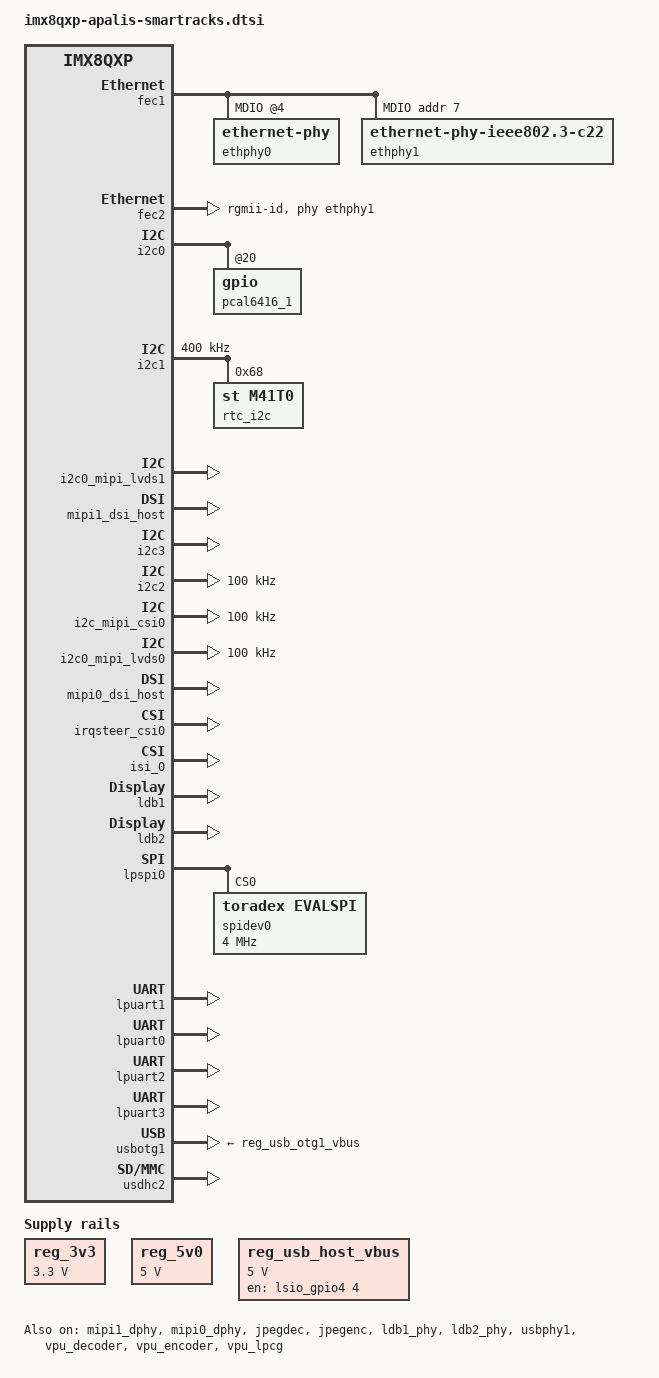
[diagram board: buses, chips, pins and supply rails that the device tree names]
/ {
    aliases {
        rtc0 = &rtc_i2c;
        rtc1 = &rtc;
    };

    reg_3v3: regulator-3v3 {
        compatible = "regulator-fixed";
        regulator-name = "3.3V";
        regulator-min-microvolt = <3300000>;
        regulator-max-microvolt = <3300000>;
    };

    reg_5v0: regulator-5v0 {
        compatible = "regulator-fixed";
        regulator-name = "5V";
        regulator-min-microvolt = <5000000>;
        regulator-max-microvolt = <5000000>;
    };

    reg_usb_otg1_vbus: regulator@0 {
        compatible = "regulator-fixed";
        pinctrl-names = "default";
        pinctrl-0 = <&pinctrl_usbo1_en>;
        regulator-name = "usb_otg1_vbus";
        regulator-min-microvolt = <5000000>;
        regulator-max-microvolt = <5000000>;
        enable-active-high;
        /* Apalis USBO1_EN */
        gpio = <&lsio_gpio3 16 GPIO_ACTIVE_HIGH>;
        status = "disabled";
    };

    /* The Cadence,usb3 driver doesn't support the vbus regulator for now.
        * Add regulator-always-on to keep the USBH_EN signal up.
        */
    reg_usb_host_vbus: regulator-usb-host-vbus {
        compatible = "regulator-fixed";
        enable-active-high;
        pinctrl-names = "default";
        pinctrl-0 = <&pinctrl_usbh_en>;
        regulator-always-on;
        regulator-name = "usb_host_vbus_hub";
        regulator-min-microvolt = <5000000>;
        regulator-max-microvolt = <5000000>;
        /* Apalis USBH_EN */
        gpio = <&lsio_gpio4 4 GPIO_ACTIVE_HIGH>;
    };

    regulator-pcie-switch {
        status = "disabled";
    };

    gpio-fan {
        status = "disabled";
    };
};


/* Disabling adc0 interface to free up pinctrl_adc0 */ 
/* pinctrl_adc0 contains 4 pins, MXM3 305, 307, 309, 311, all of which will be muxed to GPIO */
&adc0 {
    status = "disabled";
};

&fec1 {
    status = "okay";
    /delete-property/ phy-reset-duration;
    /delete-property/ phy-reset-gpios;

    mdio {
        ethphy0: ethernet-phy@4 {
            /delete-property/ interrupt-parent;
            /delete-property/ interrupts;
        };
        ethphy1: ethernet-phy@7 {
            compatible = "ethernet-phy-ieee802.3-c22";
            micrel,led-mode = <0>;
            reg = <7>;
        };
    };
};

/* Apalis Second Gigabit Ethernet */
&fec2 {
    status = "okay";
    pinctrl-names = "default";
    pinctrl-0 = <&pinctrl_fec2>;
    fsl,magic-packet;
    phy-handle = <&ethphy1>;
    phy-mode = "rgmii-id";
}; 

/* Apalis CAN1 */
&flexcan2 {
    /* define the following property to disable CAN-FD mode */
    /* disable-fd-mode; */
    status = "disabled";
};

/* Apalis CAN2 */
&flexcan3 {
    /* define the following property to disable CAN-FD mode */
    /* disable-fd-mode; */
    status = "disabled";
};

/* Apalis on-module I2C0 */
/* Rename GPIO expander line names to allow RCU Service to access GPIO using MXM3 pin number */
&i2c0 {
    pcal6416_1: gpio@20 {
        gpio-line-names = "MXM3_220", "MXM3_217", "MXM3_215",
            "UART4_TXD", "MXM3_124", "MXM3_122", "MXM3_120",
            "MXM3_110", "MXM3_2", "Wi-Fi_WKUP_WLAN",
            "Wi-Fi_W_DISABLE", "Wi-Fi_WKUP_BT", "Wi-Fi_PDn",
            "Wi-Fi_WKUP_HOST", "DSI_SW_SEL", "MXM3_232";
    };
};

/* Apalis I2C1 */
&i2c1 {
    status = "okay";
    clock-frequency = <400000>;

    /* M41T0M6 real time clock on carrier board */
    rtc_i2c: rtc@68 {
        compatible = "st,m41t0";
        reg = <0x68>;
    };
};

/* Apalis I2C2 (56246000.i2c) MXM3 205, 207 */
&i2c0_mipi_lvds1 {
    status = "okay";
};
&mipi1_dphy {
    status = "okay";
};
&mipi1_dsi_host {
    status = "okay";
};

/* Apalis I2C3 (5a830000.i2c) MXM3 203, 201 */
&i2c3 {
    status = "okay";
};

/* Apalis I2C4 (5a820000.i2c) MXM3 239, 8 */
&i2c2 {
    #address-cells = <1>;
    #size-cells = <0>;
    pinctrl-names = "default";
    pinctrl-0 = <&pinctrl_lpi2c4>;
    clock-frequency = <100000>;
    status = "okay";
};

/* Apalis I2C5 (58226000.i2c) MXM3 191, 193 */
&i2c_mipi_csi0 {
    #address-cells = <1>;
    #size-cells = <0>;
    pinctrl-names = "default";
    pinctrl-0 = <&pinctrl_lpi2c5>;
    clock-frequency = <100000>;
    status = "okay";
};

/* Apalis I2C6 (56226000.i2c) MXM3 35, 37 */
&i2c0_mipi_lvds0 {
    #address-cells = <1>;
    #size-cells = <0>;
    pinctrl-names = "default";
    pinctrl-0 = <&pinctrl_i2c0_mipi_lvds0>;
    clock-frequency = <100000>;
    status = "okay";
};
&mipi0_dphy {
    status = "okay";
};
&mipi0_dsi_host {
    status = "okay";
};


/* Enable interrupt parent for i2c_mipi_csi0 */
&irqsteer_csi0 {
    status = "okay";
};

&isi_0 {
    interface = <2 0 2>;
    /**
    * interface = <Input MIPI_VCx Output>
    * Input:       0-DC0, 1-DC1, 2-MIPI CSI0, 3-MIPI CSI1, 4-HDMI, 5-MEM, INPUT: 6-PARALLEL CSI
    * MIPI_VCx:    0-VC0, 1-VC1, 2-VC2, 3-VC3, MIPI CSI only
    * Output:      0-DC0, 1-DC1, 2-MEM
    */
    status = "okay";

        cap_device {
            status = "okay";
        };

        m2m_device {
            status = "okay";
        };
};

&isi_1 {
    interface = <6 0 2>;
    parallel_csi;
    status = "disabled";
};

&isi_2 {
    status = "disabled";
};

&isi_3 {
    status = "disabled";
};

&isi_4 {
    status = "disabled";
};

&isi_5 {
    status = "disabled";
};

&isi_6 {
    status = "disabled";
};

&isi_7 {
    status = "disabled";
};

&jpegdec {
        status = "okay";
};

&jpegenc {
        status = "okay";
};

&ldb1 {
    status = "okay";
};

&ldb1_phy {
    status = "okay";
};

&ldb2 {
    status = "okay";
};

&ldb2_phy {
    status = "okay";
};

/* Apalis SPI1 */
&lpspi0 {
    status = "okay";

    spidev0: spi@0 {
        compatible = "toradex,evalspi";
        reg = <0>;
        spi-max-frequency = <4000000>;
    };
};

/* Apalis SPI2 */
/* Disabled to free up MXM3 229, 231, 233, 235 for GPIO */
&lpspi2 {
    status = "disabled";

    spidev1: spi@0 {
        compatible = "toradex,evalspi";
        reg = <0>;
        spi-max-frequency = <4000000>;
    };
};

/* Apalis UART1 */
&lpuart1 {
    status = "okay";
    linux,rs485-enabled-at-boot-time;
};

/* Apalis UART2 */
&lpuart0 {
    status = "okay";
    pinctrl-0 = <&pinctrl_lpuart0_fix>;
    linux,rs485-enabled-at-boot-time;
};

/* Apalis UART3 */
&lpuart2 {
    status = "okay";
    linux,rs485-enabled-at-boot-time;
};

/* Apalis UART4 */
&lpuart3 {
    status = "okay";
    linux,rs485-enabled-at-boot-time;
};

&lsio_gpio1 {
    /**
    * Add GPIO1_26 as a wakeup source:
    * Pin:  SC_P_MIPI_DSI0_I2C0_SDA (MXM3_37)
    * Type: SC_PAD_WAKEUP_FALL_EDGE
    * Line: GPIO1_IO26
    */
    pad-wakeup = <117 5 26>;
    pad-wakeup-num = <1>;
};

/* Apalis PCIE1 */
/* The PCIE interface has to be disabled to safely free up the GPIO pin held by regulator-pcie-switch */
/* Disabling regulator-pcie-switch without disabling pcieb will cause SOM to fail to boot */
&pcieb {
    status = "disabled";
};

/* Apalis PWM2 */
/* Disable pwm_mipi_lvds0 interface, free up pinctrl_pwm_mipi_lvds0 */
/* pinctrl_pwm_mipi_lvds0 contains 1 pin, MXM3 4, which will not be muxed to GPIO */
&pwm_mipi_lvds0 {
    status = "disabled";
};

/* Disable the pwm_mipi_lvds1 interface, free up pinctrl_pwm_mipi_lvds1 */
/* pinctrl_pwm_mipi_lvds1 contains 1 pin, MXM3 239, which will not be muxed to GPIO */
&pwm_mipi_lvds1 {
    status = "disabled";
};

/* Apalis PWM1 */
/* Disable pwm2 interface, free up pinctrl_pwm2 */
/* pinctrl_pwm2 contains 1 pin, MXM3 2, which will be muxed to GPIO */
&pwm2 {
    status = "disabled";
};

/* Apalis USBO1 */
&usbotg1 {
    adp-disable;
    ci-disable-lpm;
    hnp-disable;
    over-current-active-low;
    srp-disable;
    status = "okay";
    vbus-supply = <&reg_usb_otg1_vbus>;
};

&usbphy1 {
    status = "okay";
};

/* Apalis MMC1 */
&usdhc2 {
    status = "okay";
};

&vpu_decoder {
    status = "okay";
};

&vpu_encoder {
    status = "okay";
};

&vpu_lpcg {
    status = "okay";
};

/* Disable lcdif interface, free up pinctrl_lcdif */
/* pinctrl_lcdif contains 22 pins, among which 8 pins will be muxed to GPIO and 14 will not */
/* GPIO: MXM3 243, 245, 247, 255, 257, 259, 261, 265 */
/* NOT GPIO: MXM3 249, 263, 273, 275, 277, 279, 281, 283, 291, 293, 295, 297, 299, 301 */
&display_lcdif {
    status = "disabled";
};

/* Disable backlight interface, free up pinctrl_gpio_bkl_on */
/* pinctrl_gpio_bkl_on contains 1 pin, MXM3 286, which will be muxed to GPIO */
&backlight {
    status = "disabled";
};

&iomuxc {
    pinctrl-names = "default";
        /* Adding all existing GPIO pin groups to the overlay, except pinctrl_sata1_act (MXM3 35) */
        /* MXM3 35 has to be freed up to allow bus 56226000.i2c to be enumerated */
        pinctrl-0 = <&pinctrl_test>, <&pinctrl_dap1_gpios>, <&pinctrl_gpio1>, <&pinctrl_gpio2>, 
                    <&pinctrl_gpio3>, <&pinctrl_gpio4>, <&pinctrl_gpio5>, <&pinctrl_gpio6>, 
                    <&pinctrl_mmc1_gpios>, <&pinctrl_qspi0a_gpios>, <&pinctrl_usbh_oc_n>, 
                    <&pinctrl_wifi_sclk>, <&pinctrl_gpio7>, <&pinctrl_gpio8>;
    apalis-imx8qxp {
        pinctrl_test: gpiomuxgrp {
            fsl,pins = <
                IMX8QXP_ADC_IN0_LSIO_GPIO1_IO10            0x60 /* MXM3 305 */
                IMX8QXP_ADC_IN1_LSIO_GPIO1_IO09            0x60 /* MXM3 307 */
                IMX8QXP_ADC_IN4_LSIO_GPIO1_IO14            0x60 /* MXM3 309 */
                IMX8QXP_ADC_IN5_LSIO_GPIO1_IO13            0x60 /* MXM3 311 */
                IMX8QXP_SPI2_CS0_LSIO_GPIO1_IO00           0x60 /* MXM3 233 */
                IMX8QXP_SPI2_SDI_LSIO_GPIO1_IO02           0x60 /* MXM3 229 */
                IMX8QXP_SPI2_SDO_LSIO_GPIO1_IO01           0x60 /* MXM3 231 */
                IMX8QXP_SPI2_SCK_LSIO_GPIO1_IO03           0x60 /* MXM3 235 */
                IMX8QXP_MCLK_OUT0_LSIO_GPIO0_IO20          0x60 /* MXM3 243 */
                IMX8QXP_MCLK_IN0_LSIO_GPIO0_IO19           0x60 /* MXM3 245 */
                IMX8QXP_SPI3_CS0_LSIO_GPIO0_IO16           0x60 /* MXM3 247 */
                IMX8QXP_SPDIF0_EXT_CLK_LSIO_GPIO0_IO12     0x60 /* MXM3 255 */
                IMX8QXP_SPI3_SCK_LSIO_GPIO0_IO13           0x60 /* MXM3 257 */
                IMX8QXP_SPI3_SDO_LSIO_GPIO0_IO14           0x60 /* MXM3 259 */
                IMX8QXP_SPI3_SDI_LSIO_GPIO0_IO15           0x60 /* MXM3 261 */
                IMX8QXP_USB_SS3_TC2_LSIO_GPIO4_IO05        0x60 /* MXM3 262 */
                IMX8QXP_UART1_CTS_B_LSIO_GPIO0_IO24        0x60 /* MXM3 265 */
                IMX8QXP_QSPI0A_DQS_LSIO_GPIO3_IO13         0x60 /* MXM3 286 */
                IMX8QXP_FLEXCAN0_TX_LSIO_GPIO1_IO16        0x60 /* MXM3 130 */
                IMX8QXP_FLEXCAN0_RX_LSIO_GPIO1_IO15        0x60 /* MXM3 128 */
                IMX8QXP_MIPI_DSI0_GPIO0_01_LSIO_GPIO1_IO28 0x60 /* MXM3 6   */
            >;
        };
        pinctrl_lpi2c4: lpi2c4grp {
            fsl,pins = <
                IMX8QXP_MIPI_DSI1_GPIO0_00_ADMA_I2C2_SCL 0xc6000020 /* MXM3 239 */
                IMX8QXP_MIPI_DSI1_GPIO0_01_ADMA_I2C2_SDA 0xc6000020 /* MXM3 8 */
            >;
        };
        pinctrl_lpi2c5: lpi2c5grp {
            fsl,pins = <
                IMX8QXP_CSI_PCLK_MIPI_CSI0_I2C0_SCL 0xc6000020 /* MXM3 191 */
                IMX8QXP_CSI_MCLK_MIPI_CSI0_I2C0_SDA 0xc6000020 /* MXM3 193 */
            >;
        };
        pinctrl_i2c0_mipi_lvds0: mipilvds0i2c0grp {
            fsl,pins = <
                IMX8QXP_MIPI_DSI0_I2C0_SCL_MIPI_DSI0_I2C0_SCL 0xc6000020 /* MXM3 35 */
                IMX8QXP_MIPI_DSI0_I2C0_SDA_MIPI_DSI0_I2C0_SDA 0xc6000020 /* MXM3 37 */
            >;
        };
        /* External Gigabit Ethernet PHY Micrel KSZ9031 */
        pinctrl_fec2: fec2grp {
            fsl,pins = <
                IMX8QXP_COMP_CTL_GPIO_1V8_3V3_GPIORHB_PAD   0x514a0
                IMX8QXP_ESAI0_TX0_CONN_ENET1_RGMII_RXC      0x60
                IMX8QXP_SPDIF0_RX_CONN_ENET1_RGMII_RXD0     0x60
                IMX8QXP_ESAI0_TX3_RX2_CONN_ENET1_RGMII_RXD1 0x60
                IMX8QXP_ESAI0_TX2_RX3_CONN_ENET1_RGMII_RXD2 0x60
                IMX8QXP_ESAI0_TX1_CONN_ENET1_RGMII_RXD3     0x60
                IMX8QXP_SPDIF0_TX_CONN_ENET1_RGMII_RX_CTL   0x60
                IMX8QXP_ESAI0_FSR_CONN_ENET1_RGMII_TXC      0x60
                IMX8QXP_ESAI0_TX4_RX1_CONN_ENET1_RGMII_TXD0 0x60
                IMX8QXP_ESAI0_TX5_RX0_CONN_ENET1_RGMII_TXD1 0x60
                IMX8QXP_ESAI0_FST_CONN_ENET1_RGMII_TXD2     0x60
                IMX8QXP_ESAI0_SCKT_CONN_ENET1_RGMII_TXD3    0x60
                IMX8QXP_ESAI0_SCKR_CONN_ENET1_RGMII_TX_CTL  0x60
            >;
        };
        /* Redefine lpuart0 pin group without RTS and CTS pins (muxed to GPIO) */
        pinctrl_lpuart0_fix: lpuart0grpfix {
            fsl,pins = <
                IMX8QXP_UART0_TX_ADMA_UART0_TX 0x06000020 /* MXM3 126 */
                IMX8QXP_UART0_RX_ADMA_UART0_RX 0x06000020 /* MXM3 132 */
            >;
        };
    };
};

/* Renamed Apalis GPIO1 to GPIO8 lines, as SmartRacks RCU Service relies on the MXM3 pin number to access GPIOs */
/* Fix GPIO3.IO10 line name from MXM3_110 to MXM3_148 */
&lsio_gpio3 {
    gpio-line-names = "MXM3_191",
                      "MXM3_193",
                      "MXM3_203",
                      "MXM3_201",
                      "",
                      "",
                      "",
                      "",
                      "",
                      "MXM3_96",
                      "MXM3_148",
                      "MXM3_114",
                      "MXM3_116",
                      "MXM3_286",
                      "MXM3_158",
                      "MXM3_198",
                      "MXM3_274",
                      "MXM3_11",
                      "MXM3_13",
                      "MXM3_15",
                      "MXM3_17",
                      "MXM3_1",
                      "MXM3_3",
                      "MXM3_5",
                      "MXM3_7";
};

/* Fix GPIO4.IO20 line name from MXM3_148 to nothing, as this line is not exposed on MXM3 connector */
&lsio_gpio4 {
    gpio-line-names = "",
                      "",
                      "",
                      "MXM3_211",
                      "MXM3_84",
                      "MXM3_262",
                      "MXM3_209",
                      "",
                      "",
                      "",
                      "",
                      "",
                      "",
                      "",
                      "",
                      "",
                      "",
                      "",
                      "",
                      "MXM3_152",
                      "",
                      "MXM3_156",
                      "MXM3_164",
                      "MXM3_154",
                      "MXM3_150",
                      "MXM3_160",
                      "MXM3_162",
                      "MXM3_144",
                      "MXM3_146",
                      "MXM3_77",
                      "MXM3_79",
                      "MXM3_65";
};
